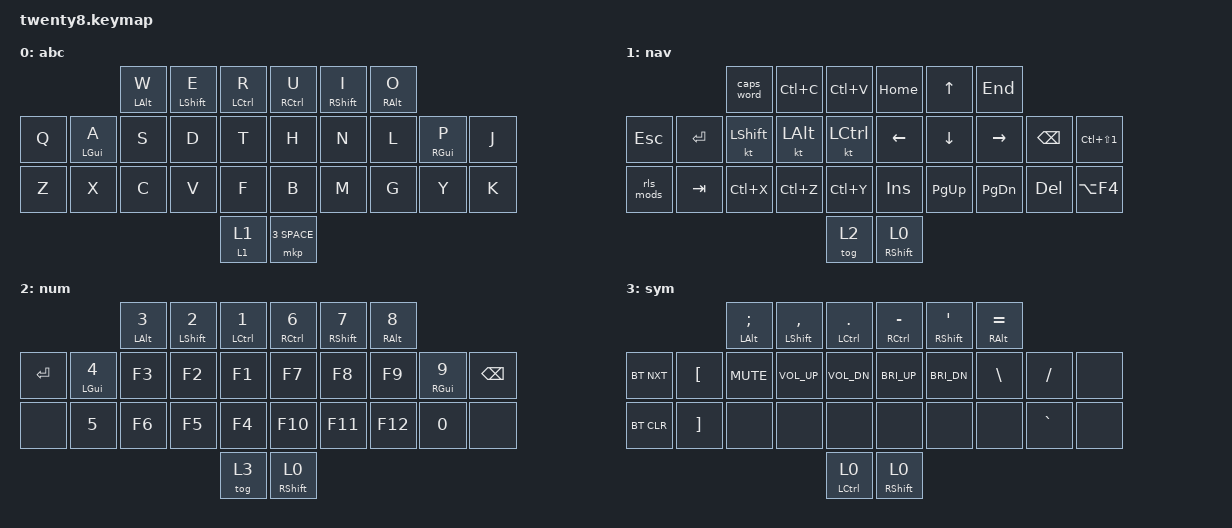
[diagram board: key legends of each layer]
#include <behaviors.dtsi>
#include <dt-bindings/zmk/keys.h>
#include <dt-bindings/zmk/bt.h>

#define abc_shft &mrl RSHIFT 0
#define ARCHIVE &kp LC(LS(N1))
#define TEAMSMUTE &kp LC(LS(M))

&caps_word {
    continue-list = <MINUS UNDERSCORE BKSP DEL LEFT RIGHT>;
};

/ { 
    behaviors {
        mg: mom_toggle_layers {
            compatible = "zmk,behavior-hold-tap";
            label = "MOM_TOGGLE_LAYERS";
            #binding-cells = <2>;
            flavor = "tap-preferred";
            tapping-term-ms = <300>;
            bindings = <&mo>, <&tog>;
        };
        mrl: mod_reset_layers {
            compatible = "zmk,behavior-hold-tap";
            label = "MOD_RESET_LAYERS";
            #binding-cells = <2>;
            flavor = "tap-preferred";
            tapping-term-ms = <300>;
            bindings = <&kp>, <&to>;
        };
        mkp: mom_key_press {
            compatible = "zmk,behavior-hold-tap";
            label = "MOM_KEY_PRESS";
            #binding-cells = <2>;
            flavor = "tap-preferred";
            tapping-term-ms = <300>;
            quick-tap-ms = <200>;
            global-quick-tap;
            bindings = <&mo>, <&kp>;
        };        
        hm: home_mod {
            compatible = "zmk,behavior-hold-tap";
            label = "HOME_MOD";
            #binding-cells = <2>;
            flavor = "balanced";
            tapping-term-ms = <300>;
            quick-tap-ms = <200>;
            global-quick-tap;
            bindings = <&kp>, <&kp>;
        };
    };
    macros {
        rls_mods: rls_mods {
            compatible = "zmk,behavior-macro";
            label = "ZM_rls_mods";
            #binding-cells = <0>;
            wait-ms = <5>;
            tap-ms = <15>;
            bindings = <&macro_release &kp LSHFT &kp LCTRL &kp LALT &kp LGUI>;
        };
    };
    combos {
        compatible = "zmk,combos";
        combo_backspace {
            timeout-ms = <70>;
            key-positions = <4 5>;
            bindings = <&kp BKSP>;
            layers = <0>;
        };
        combo_enter {
            timeout-ms = <70>;
            key-positions = <0 1>;
            bindings = <&kp ENTER>;
            layers = <0>;
        };
    };
 
    keymap {
        compatible = "zmk,keymap";
        //       0  1  2    3  4  5  
        // 6  7  8  9  10   11 12 13 14 15
        // 16 17 18 19 20   21 22 23 24 25
        //             26   27
        abc {
            bindings = <
                                     &hm LALT W  &hm LSHFT E  &hm LCTL R  &hm RCTL U  &hm RSHFT I  &hm RALT O
                &kp Q    &hm LGUI A  &kp S       &kp D        &kp T       &kp H       &kp N        &kp L     &hm RGUI P  &kp J
                &kp Z    &kp X       &kp C       &kp V        &kp F       &kp B       &kp M        &kp G     &kp Y       &kp K
                                                              &mg 1 1     &mkp 3 SPACE
            >;
        };

        nav {
            bindings = <
                                      &caps_word  &kp LC(C)  &kp LC(V)  &kp HOME  &kp UP    &kp END  
                &kp ESC    &kp ENTER  &kt LSHFT   &kt LALT   &kt LCTRL  &kp LEFT  &kp DOWN  &kp RIGHT &kp BKSP  ARCHIVE
                &rls_mods  &kp TAB    &kp LC(X)   &kp LC(Z)  &kp LC(Y)  &kp INS   &kp PG_UP &kp PG_DN &kp DEL   &kp LA(F4)
                                                             &tog 2     abc_shft
            >;
        };
    
        num {
            bindings = <
                                       &hm LALT N3  &hm LSHFT N2  &hm LCTL N1  &hm RCTL N6  &hm RSHFT N7  &hm RALT N8
                &kp ENTER &hm LGUI N4  &kp F3       &kp F2        &kp F1       &kp F7       &kp F8        &kp F9     &hm RGUI N9  &kp BKSP
                &none     &kp N5       &kp F6       &kp F5        &kp F4       &kp F10      &kp F11       &kp F12    &kp N0       &none
                                                                  &tog 3       abc_shft
            >;
        };    
    
        sym {
            bindings = <
                                      &hm LALT SEMI  &hm LSHFT COMMA  &hm LCTL DOT  &hm RCTL MINUS  &hm RSHFT SQT  &hm RALT EQUAL
                &bt BT_NXT  &kp LBKT  &kp C_MUTE     &kp C_VOL_UP     &kp C_VOL_DN  &kp C_BRI_UP    &kp C_BRI_DN   &kp BSLH      &kp SLASH &none
                &bt BT_CLR  &kp RBKT  &none          &none            &none         &none           &none          &none         &kp GRAVE &none
                                                                      &mrl LCTL 0   abc_shft
            >;
        };
    };
};
